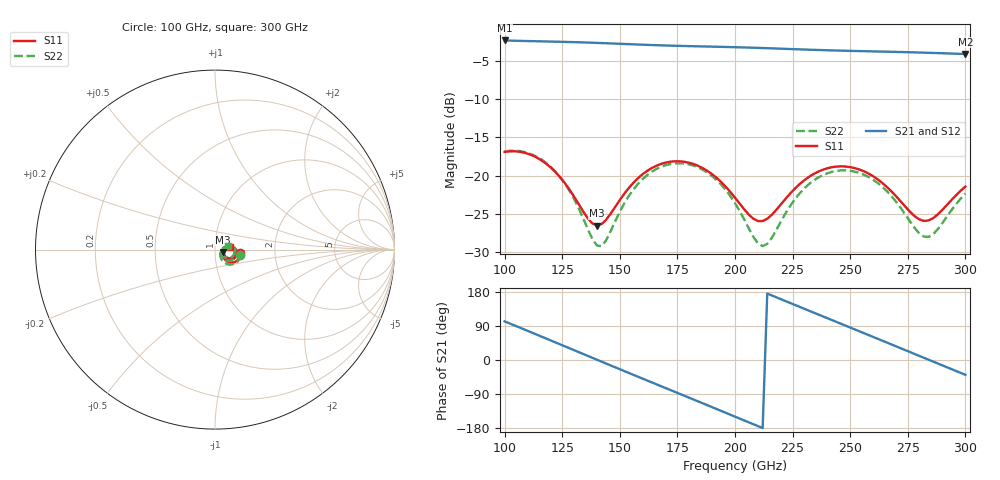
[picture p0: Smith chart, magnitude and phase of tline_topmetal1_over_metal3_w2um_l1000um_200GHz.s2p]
#  GHZ S DB R 50
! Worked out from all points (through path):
!   101 points, 100 GHz to 300 GHz, reference 50 ohm
!   highest |S21| = -2.33 dB at 100 GHz (marker M1); lowest = -4.1 dB at 300 GHz (marker M2)
!   group delay of S21, straight-line fit = 6.96 ps
!   lowest |S11| = -26.5 dB at 140 GHz (marker M3), VSWR 1.10, Z = 54.7 - j1.52 ohm
!   |S11| at or under -10 dB: start of sweep to end of sweep
!   |S22| runs from -29.2 to -16.7 dB; largest |S21 - S12| = 1.3e-13
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100  -16.89 -7.9  -2.33 102.0  -2.33 102.0  -16.82 -10.9
108  -16.94 -21.5  -2.40 81.9  -2.40 81.9  -16.85 -25.7
116  -17.98 -34.1  -2.45 61.8  -2.45 61.8  -17.88 -40.0
126  -20.90 -44.5  -2.52 36.5  -2.52 36.5  -20.95 -54.1
134  -24.60 -39.1  -2.59 16.2  -2.59 16.2  -25.46 -53.7
140  -26.49 -17.0  -2.65 0.9  -2.65 0.9  -29.09 -28.0
144  -25.76 -0.0  -2.70 -9.2  -2.70 -9.2  -28.45 -1.1
152  -22.32 12.5  -2.79 -29.3  -2.79 -29.3  -23.57 16.3
160  -19.77 7.9  -2.89 -49.4  -2.89 -49.4  -20.41 9.9
168  -18.44 -2.4  -2.97 -69.4  -2.97 -69.4  -18.82 -2.2
176  -18.11 -14.2  -3.04 -89.3  -3.04 -89.3  -18.36 -15.9
184  -18.70 -25.8  -3.10 -109.3  -3.10 -109.3  -18.91 -29.5
200  -22.85 -37.1  -3.21 -149.4  -3.21 -149.4  -23.57 -48.0
212  -25.91 -9.4  -3.32 -179.6  -3.32 -179.6  -29.17 -15.1
222  -22.98 10.4  -3.43 155.3  -3.43 155.3  -24.87 17.5
234  -19.79 4.4  -3.56 125.4  -3.56 125.4  -20.64 9.4
250  -18.86 -16.6  -3.69 85.7  -3.69 85.7  -19.35 -15.1
258  -19.71 -26.7  -3.75 65.8  -3.75 65.8  -20.16 -27.0
268  -22.06 -34.0  -3.82 40.8  -3.82 40.8  -22.69 -37.2
280  -25.69 -19.0  -3.91 10.8  -3.91 10.8  -27.52 -22.8
284  -25.83 -7.0  -3.95 0.8  -3.95 0.8  -27.98 -6.6
300  -21.41 9.8  -4.10 -39.0  -4.10 -39.0  -22.32 16.0
